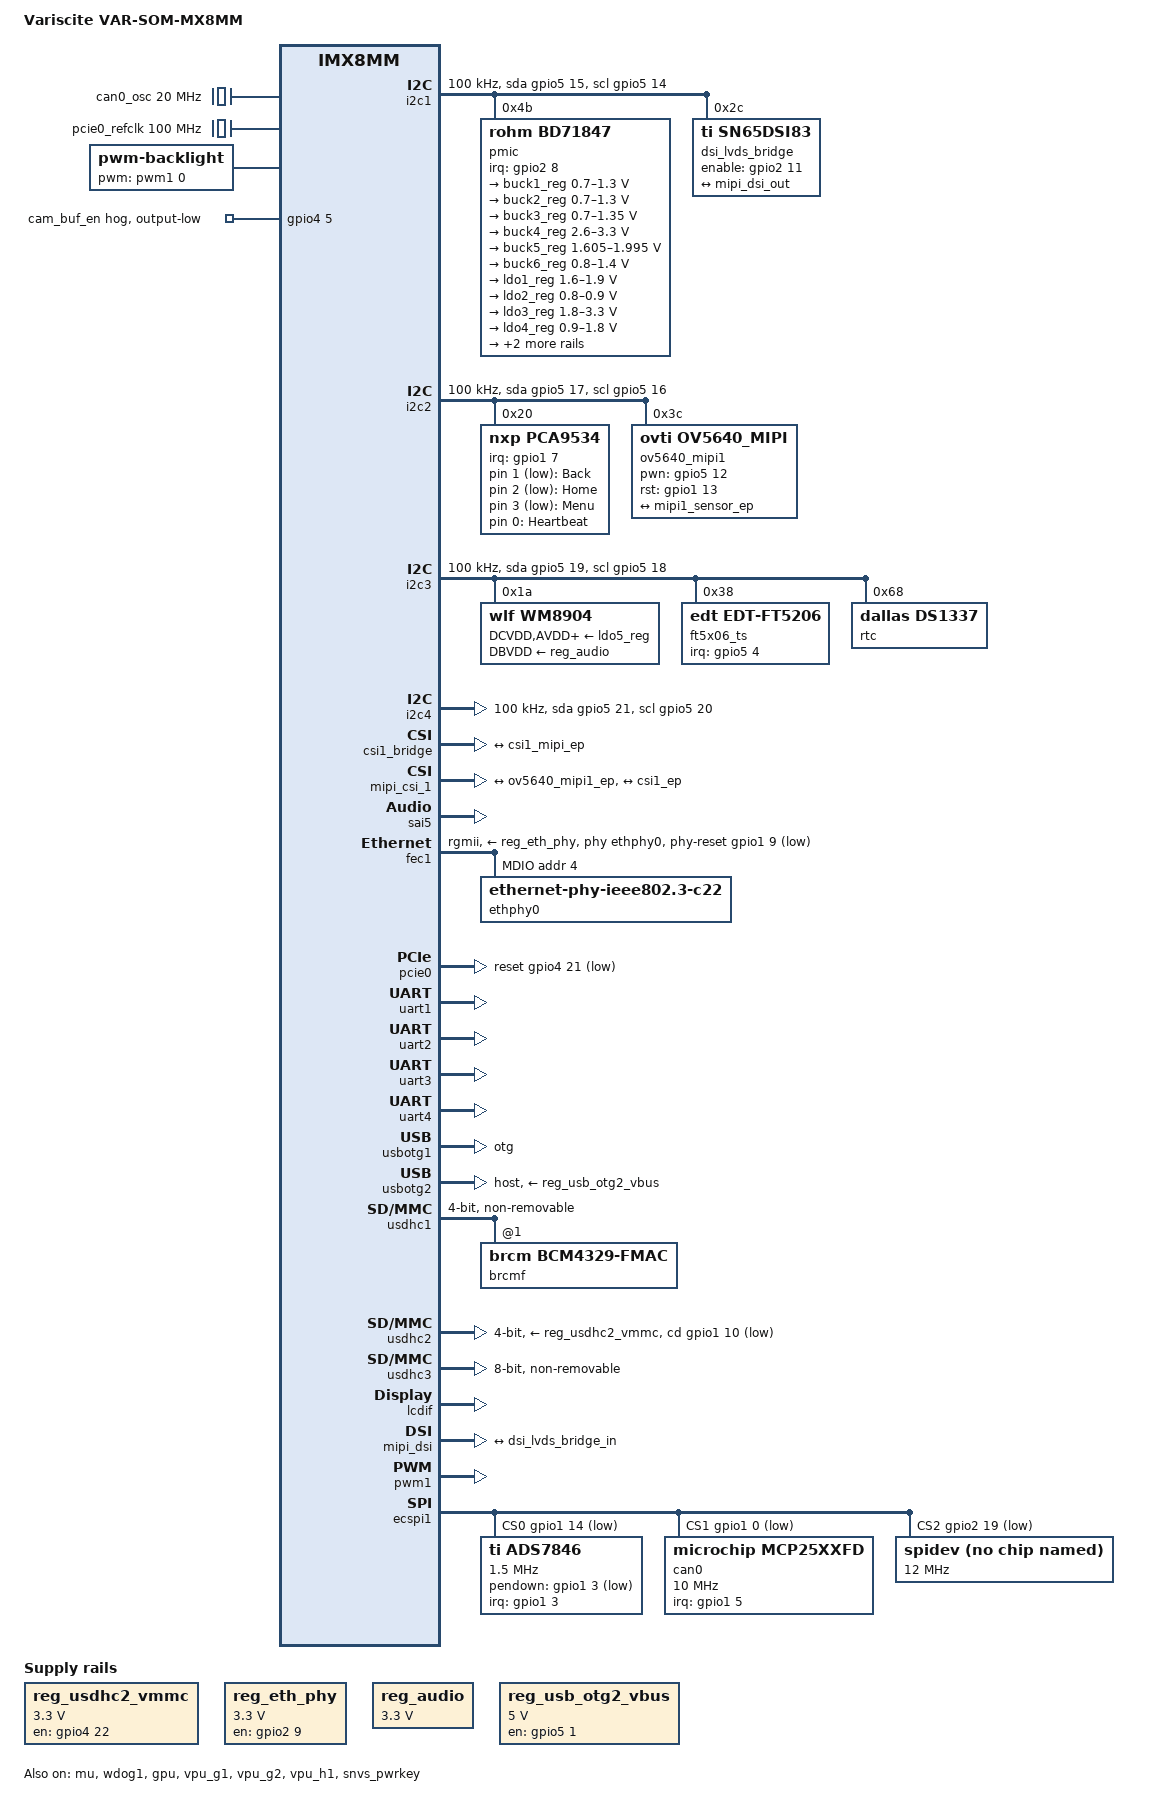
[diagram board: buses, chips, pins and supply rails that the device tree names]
// SPDX-License-Identifier: (GPL-2.0+ OR MIT)
/*
 * Copyright 2019 NXP
 * Copyright 2019-2020 Variscite Ltd.
 */

/dts-v1/;

#include <dt-bindings/usb/pd.h>
#include "imx8mm.dtsi"

/ {
	model = "Variscite VAR-SOM-MX8MM";
	compatible = "variscite,dart-mx8mm", "fsl,imx8mm";

	chosen {
		stdout-path = &uart4;
	};

	reg_usdhc2_vmmc: regulator-usdhc2 {
		compatible = "regulator-fixed";
		pinctrl-names = "default";
		pinctrl-0 = <&pinctrl_reg_usdhc2_vmmc>;
		regulator-name = "VSD_3V3";
		regulator-min-microvolt = <3300000>;
		regulator-max-microvolt = <3300000>;
		gpio = <&gpio4 22 GPIO_ACTIVE_HIGH>;
		off-on-delay = <20000>;
		enable-active-high;
	};

	reg_eth_phy: regulator-eth-phy {
		compatible = "regulator-fixed";
		pinctrl-names = "default";
		pinctrl-0 = <&pinctrl_reg_eth_phy>;
		regulator-name = "eth_phy_pwr";
		regulator-min-microvolt = <3300000>;
		regulator-max-microvolt = <3300000>;
		gpio = <&gpio2 9 GPIO_ACTIVE_HIGH>;
		enable-active-high;
	};

	reg_audio: audio_vdd {
		compatible = "regulator-fixed";
		regulator-name = "wm8904_supply";
		regulator-min-microvolt = <3300000>;
		regulator-max-microvolt = <3300000>;
		regulator-always-on;
	};

	reg_usb_otg2_vbus: regulator-usb-otg2-vbus {
		compatible = "regulator-fixed";
		pinctrl-names = "default", "sleep";
		pinctrl-0 = <&pinctrl_usbotg2>;
		pinctrl-1 = <&pinctrl_usbotg2_sleep>;
		regulator-name = "usb_otg2_vbus";
		regulator-min-microvolt = <5000000>;
		regulator-max-microvolt = <5000000>;
		gpio = <&gpio5 1 GPIO_ACTIVE_HIGH>;
		enable-active-high;
	};

	can0_osc: can0_osc {
		compatible = "fixed-clock";
		#clock-cells = <0>;
		clock-frequency = <20000000>;
		clock-output-names = "can_osc";
	};

	pcie0_refclk: pcie0-refclk {
		compatible = "fixed-clock";
		#clock-cells = <0>;
		clock-frequency = <100000000>;
	};

	reserved-memory {
		/* cma region is provided by kernel command line as cma=<size>M */
		/delete-node/ linux,cma;

		rpmsg_reserved: rpmsg@0x40000000 {
			no-map;
			reg = <0 0x40000000 0 0x400000>;
		};
	};

	sound-spdif {
		compatible = "fsl,imx-audio-spdif";
		model = "imx-spdif";
		spdif-controller = <&spdif1>;
		spdif-out;
		spdif-in;
		status = "disabled";
	};

	sound-wm8904 {
		compatible = "fsl,imx-audio-wm8904";
		model = "imx-wm8904";
		audio-cpu = <&sai5>;
		audio-codec = <&wm8904>;
		audio-routing =
			"Headphone Jack", "HPOUTL",
			"Headphone Jack", "HPOUTR",
			"IN2L", "Line In Jack",
			"IN2R", "Line In Jack",
			"IN1L", "Mic Jack",
			"Playback", "CPU-Playback",
			"CPU-Capture", "Capture";
		status = "okay";
	};

	backlight: backlight {
		compatible = "pwm-backlight";
		pwms = <&pwm1 0 1000000 0>;
		brightness-levels = < 0  1  2  3  4  5  6  7  8  9
				     10 11 12 13 14 15 16 17 18 19
				     20 21 22 23 24 25 26 27 28 29
				     30 31 32 33 34 35 36 37 38 39
				     40 41 42 43 44 45 46 47 48 49
				     50 51 52 53 54 55 56 57 58 59
				     60 61 62 63 64 65 66 67 68 69
				     70 71 72 73 74 75 76 77 78 79
				     80 81 82 83 84 85 86 87 88 89
				     90 91 92 93 94 95 96 97 98 99
				    100>;
		default-brightness-level = <80>;
		status = "okay";
	};

	gpio-keys {
		compatible = "gpio-keys";
		status = "okay";

		back {
			label = "Back";
			gpios = <&pca9534 1 GPIO_ACTIVE_LOW>;
			linux,code = <KEY_BACK>;
			wakeup-source;
		};

		home {
			label = "Home";
			gpios = <&pca9534 2 GPIO_ACTIVE_LOW>;
			linux,code = <KEY_HOME>;
			wakeup-source;
		};

		menu {
			label = "Menu";
			gpios = <&pca9534 3 GPIO_ACTIVE_LOW>;
			linux,code = <KEY_MENU>;
			wakeup-source;
		};
	};

	leds {
		compatible = "gpio-leds";
		status = "okay";

		heartbeat {
			label = "Heartbeat";
			gpios = <&pca9534 0 GPIO_ACTIVE_HIGH>;
			linux,default-trigger = "heartbeat";
		};
	};
};

&iomuxc {
	pinctrl-names = "default";

	imx8mm-var-som {

		pinctrl_reg_usdhc2_vmmc: regusdhc2vmmc {
			fsl,pins = <
				MX8MM_IOMUXC_SAI2_RXC_GPIO4_IO22		0x41
			>;
		};

		pinctrl_reg_eth_phy: regethphy {
			fsl,pins = <
				MX8MM_IOMUXC_SD1_DATA7_GPIO2_IO9		0x41
			>;
		};

		pinctrl_csi1: csi1grp {
			fsl,pins = <
				MX8MM_IOMUXC_GPIO1_IO13_GPIO1_IO13		0x19 /* CAM_RST */
				MX8MM_IOMUXC_ECSPI2_MISO_GPIO5_IO12		0x19 /* CAM_PWR */
				MX8MM_IOMUXC_SAI1_RXD3_GPIO4_IO5		0x19 /* CAM_BUF */
			>;
		};

		pinctrl_fec1: fec1grp {
			fsl,pins = <
				MX8MM_IOMUXC_ENET_MDC_ENET1_MDC			0x3
				MX8MM_IOMUXC_ENET_MDIO_ENET1_MDIO		0x3
				MX8MM_IOMUXC_ENET_TD3_ENET1_RGMII_TD3		0x1f
				MX8MM_IOMUXC_ENET_TD2_ENET1_RGMII_TD2		0x1f
				MX8MM_IOMUXC_ENET_TD1_ENET1_RGMII_TD1		0x1f
				MX8MM_IOMUXC_ENET_TD0_ENET1_RGMII_TD0		0x1f
				MX8MM_IOMUXC_ENET_RD3_ENET1_RGMII_RD3		0x91
				MX8MM_IOMUXC_ENET_RD2_ENET1_RGMII_RD2		0x91
				MX8MM_IOMUXC_ENET_RD1_ENET1_RGMII_RD1		0x91
				MX8MM_IOMUXC_ENET_RD0_ENET1_RGMII_RD0		0x91
				MX8MM_IOMUXC_ENET_TXC_ENET1_RGMII_TXC		0x1f
				MX8MM_IOMUXC_ENET_RXC_ENET1_RGMII_RXC		0x91
				MX8MM_IOMUXC_ENET_RX_CTL_ENET1_RGMII_RX_CTL	0x91
				MX8MM_IOMUXC_ENET_TX_CTL_ENET1_RGMII_TX_CTL	0x1f
				MX8MM_IOMUXC_GPIO1_IO09_GPIO1_IO9		0x19
			>;
		};

		pinctrl_fec1_sleep: fec1grpsleep {
			fsl,pins = <
				MX8MM_IOMUXC_ENET_MDC_GPIO1_IO16		0x120
				MX8MM_IOMUXC_ENET_MDIO_GPIO1_IO17		0x120
				MX8MM_IOMUXC_ENET_TD3_GPIO1_IO18		0x120
				MX8MM_IOMUXC_ENET_TD2_GPIO1_IO19		0x120
				MX8MM_IOMUXC_ENET_TD1_GPIO1_IO20		0x120
				MX8MM_IOMUXC_ENET_TD0_GPIO1_IO21		0x120
				MX8MM_IOMUXC_ENET_RD3_GPIO1_IO29		0x120
				MX8MM_IOMUXC_ENET_RD2_GPIO1_IO28		0x120
				MX8MM_IOMUXC_ENET_RD1_GPIO1_IO27		0x120
				MX8MM_IOMUXC_ENET_RD0_GPIO1_IO26		0x120
				MX8MM_IOMUXC_ENET_TXC_GPIO1_IO23		0x120
				MX8MM_IOMUXC_ENET_RXC_GPIO1_IO25		0x120
				MX8MM_IOMUXC_ENET_RX_CTL_GPIO1_IO24		0x120
				MX8MM_IOMUXC_ENET_TX_CTL_GPIO1_IO22		0x120
				MX8MM_IOMUXC_GPIO1_IO09_GPIO1_IO9		0x120
			>;
		};

		pinctrl_i2c1: i2c1grp {
			fsl,pins = <
				MX8MM_IOMUXC_I2C1_SCL_I2C1_SCL			0x400001c3
				MX8MM_IOMUXC_I2C1_SDA_I2C1_SDA			0x400001c3
			>;
		};

		pinctrl_i2c2: i2c2grp {
			fsl,pins = <
				MX8MM_IOMUXC_I2C2_SCL_I2C2_SCL			0x400001c3
				MX8MM_IOMUXC_I2C2_SDA_I2C2_SDA			0x400001c3
			>;
		};

		pinctrl_i2c3: i2c3grp {
			fsl,pins = <
				MX8MM_IOMUXC_I2C3_SCL_I2C3_SCL			0x400001c3
				MX8MM_IOMUXC_I2C3_SDA_I2C3_SDA			0x400001c3
			>;
		};

		pinctrl_i2c4: i2c4grp {
			fsl,pins = <
				MX8MM_IOMUXC_I2C4_SCL_I2C4_SCL			0x400001c3
				MX8MM_IOMUXC_I2C4_SDA_I2C4_SDA			0x400001c3
			>;
		};

		pinctrl_i2c1_gpio: i2c1grp-gpio {
			fsl,pins = <
				MX8MM_IOMUXC_I2C1_SCL_GPIO5_IO14		0x1c3
				MX8MM_IOMUXC_I2C1_SDA_GPIO5_IO15		0x1c3
			>;
		};

		pinctrl_i2c2_gpio: i2c2grp-gpio {
			fsl,pins = <
				MX8MM_IOMUXC_I2C2_SCL_GPIO5_IO16		0x1c3
				MX8MM_IOMUXC_I2C2_SDA_GPIO5_IO17		0x1c3
			>;
		};

		pinctrl_i2c3_gpio: i2c3grp-gpio {
			fsl,pins = <
				MX8MM_IOMUXC_I2C3_SCL_GPIO5_IO18		0x1c3
				MX8MM_IOMUXC_I2C3_SDA_GPIO5_IO19		0x1c3
			>;
		};

		pinctrl_i2c4_gpio: i2c4grp-gpio {
			fsl,pins = <
				MX8MM_IOMUXC_I2C4_SCL_GPIO5_IO20		0x1c3
				MX8MM_IOMUXC_I2C4_SDA_GPIO5_IO21		0x1c3
			>;
		};

		pinctrl_pcie0: pcie0grp {
			fsl,pins = <
				MX8MM_IOMUXC_SAI2_RXFS_GPIO4_IO21		0x41
			>;
		};

		pinctrl_pmic: pmicgrp {
			fsl,pins = <
				MX8MM_IOMUXC_SD1_DATA6_GPIO2_IO8		0x140
			>;
		};

		pinctrl_sai5: sai5grp {
			fsl,pins = <
				MX8MM_IOMUXC_SAI5_RXD1_SAI5_TX_SYNC		0xd6
				MX8MM_IOMUXC_SAI5_RXFS_SAI5_RX_SYNC		0xd6
				MX8MM_IOMUXC_SAI5_RXD3_SAI5_TX_DATA0		0xd6
				MX8MM_IOMUXC_SAI5_RXD0_SAI5_RX_DATA0		0xd6
				MX8MM_IOMUXC_SAI5_RXC_SAI5_RX_BCLK		0xd6
				MX8MM_IOMUXC_SAI5_RXD2_SAI5_TX_BCLK		0xd6
				MX8MM_IOMUXC_SAI5_MCLK_SAI5_MCLK		0xd6
			>;
		};

		pinctrl_spdif1: spdif1grp {
			fsl,pins = <
				MX8MM_IOMUXC_SPDIF_TX_SPDIF1_OUT		0xd6
				MX8MM_IOMUXC_SPDIF_RX_SPDIF1_IN			0xd6
			>;
		};

		pinctrl_uart1: uart1grp {
			fsl,pins = <
				MX8MM_IOMUXC_UART1_RXD_UART1_DCE_RX		0x140
				MX8MM_IOMUXC_UART1_TXD_UART1_DCE_TX		0x140
			>;
		};

		pinctrl_uart2: uart2grp {
			fsl,pins = <
				MX8MM_IOMUXC_SAI3_TXFS_UART2_DCE_RX		0x140
				MX8MM_IOMUXC_SAI3_TXC_UART2_DCE_TX		0x140
				MX8MM_IOMUXC_SAI3_RXC_UART2_DCE_CTS_B		0x140
				MX8MM_IOMUXC_SAI3_RXD_UART2_DCE_RTS_B		0x140
			>;
		};

		pinctrl_uart3: uart3grp {
			fsl,pins = <
				MX8MM_IOMUXC_UART3_RXD_UART3_DCE_RX		0x140
				MX8MM_IOMUXC_UART3_TXD_UART3_DCE_TX		0x140
			>;
		};

		pinctrl_uart4: uart4grp {
			fsl,pins = <
				MX8MM_IOMUXC_UART4_RXD_UART4_DCE_RX		0x140
				MX8MM_IOMUXC_UART4_TXD_UART4_DCE_TX		0x140
			>;
		};

		pinctrl_usdhc1: usdhc1grp {
			fsl,pins = <
				MX8MM_IOMUXC_SD1_CLK_USDHC1_CLK			0x190
				MX8MM_IOMUXC_SD1_CMD_USDHC1_CMD			0x1d0
				MX8MM_IOMUXC_SD1_DATA0_USDHC1_DATA0		0x1d0
				MX8MM_IOMUXC_SD1_DATA1_USDHC1_DATA1		0x1d0
				MX8MM_IOMUXC_SD1_DATA2_USDHC1_DATA2		0x1d0
				MX8MM_IOMUXC_SD1_DATA3_USDHC1_DATA3		0x1d0
			>;
		};

		pinctrl_usdhc1_100mhz: usdhc1grp100mhz {
			fsl,pins = <
				MX8MM_IOMUXC_SD1_CLK_USDHC1_CLK			0x194
				MX8MM_IOMUXC_SD1_CMD_USDHC1_CMD			0x1d4
				MX8MM_IOMUXC_SD1_DATA0_USDHC1_DATA0		0x1d4
				MX8MM_IOMUXC_SD1_DATA1_USDHC1_DATA1		0x1d4
				MX8MM_IOMUXC_SD1_DATA2_USDHC1_DATA2		0x1d4
				MX8MM_IOMUXC_SD1_DATA3_USDHC1_DATA3		0x1d4
			>;
		};

		pinctrl_usdhc1_200mhz: usdhc1grp200mhz {
			fsl,pins = <
				MX8MM_IOMUXC_SD1_CLK_USDHC1_CLK			0x196
				MX8MM_IOMUXC_SD1_CMD_USDHC1_CMD			0x1d6
				MX8MM_IOMUXC_SD1_DATA0_USDHC1_DATA0		0x1d6
				MX8MM_IOMUXC_SD1_DATA1_USDHC1_DATA1		0x1d6
				MX8MM_IOMUXC_SD1_DATA2_USDHC1_DATA2		0x1d6
				MX8MM_IOMUXC_SD1_DATA3_USDHC1_DATA3		0x1d6
			>;
		};

		pinctrl_usdhc2_gpio: usdhc2grpgpio {
			fsl,pins = <
				MX8MM_IOMUXC_GPIO1_IO10_GPIO1_IO10		0xc1
			>;
		};

		pinctrl_usdhc2: usdhc2grp {
			fsl,pins = <
				MX8MM_IOMUXC_SD2_CLK_USDHC2_CLK			0x190
				MX8MM_IOMUXC_SD2_CMD_USDHC2_CMD			0x1d0
				MX8MM_IOMUXC_SD2_DATA0_USDHC2_DATA0		0x1d0
				MX8MM_IOMUXC_SD2_DATA1_USDHC2_DATA1		0x1d0
				MX8MM_IOMUXC_SD2_DATA2_USDHC2_DATA2		0x1d0
				MX8MM_IOMUXC_SD2_DATA3_USDHC2_DATA3		0x1d0
				MX8MM_IOMUXC_GPIO1_IO04_USDHC2_VSELECT		0x1d0
			>;
		};

		pinctrl_usdhc2_100mhz: usdhc2grp100mhz {
			fsl,pins = <
				MX8MM_IOMUXC_SD2_CLK_USDHC2_CLK			0x194
				MX8MM_IOMUXC_SD2_CMD_USDHC2_CMD			0x1d4
				MX8MM_IOMUXC_SD2_DATA0_USDHC2_DATA0		0x1d4
				MX8MM_IOMUXC_SD2_DATA1_USDHC2_DATA1		0x1d4
				MX8MM_IOMUXC_SD2_DATA2_USDHC2_DATA2		0x1d4
				MX8MM_IOMUXC_SD2_DATA3_USDHC2_DATA3		0x1d4
				MX8MM_IOMUXC_GPIO1_IO04_USDHC2_VSELECT		0x1d0
			>;
		};

		pinctrl_usdhc2_200mhz: usdhc2grp200mhz {
			fsl,pins = <
				MX8MM_IOMUXC_SD2_CLK_USDHC2_CLK			0x196
				MX8MM_IOMUXC_SD2_CMD_USDHC2_CMD			0x1d6
				MX8MM_IOMUXC_SD2_DATA0_USDHC2_DATA0		0x1d6
				MX8MM_IOMUXC_SD2_DATA1_USDHC2_DATA1		0x1d6
				MX8MM_IOMUXC_SD2_DATA2_USDHC2_DATA2		0x1d6
				MX8MM_IOMUXC_SD2_DATA3_USDHC2_DATA3		0x1d6
				MX8MM_IOMUXC_GPIO1_IO04_USDHC2_VSELECT		0x1d0
			>;
		};

		pinctrl_usdhc3: usdhc3grp {
			fsl,pins = <
				MX8MM_IOMUXC_NAND_WE_B_USDHC3_CLK		0x190
				MX8MM_IOMUXC_NAND_WP_B_USDHC3_CMD		0x1d0
				MX8MM_IOMUXC_NAND_DATA04_USDHC3_DATA0		0x1d0
				MX8MM_IOMUXC_NAND_DATA05_USDHC3_DATA1		0x1d0
				MX8MM_IOMUXC_NAND_DATA06_USDHC3_DATA2		0x1d0
				MX8MM_IOMUXC_NAND_DATA07_USDHC3_DATA3		0x1d0
				MX8MM_IOMUXC_NAND_RE_B_USDHC3_DATA4		0x1d0
				MX8MM_IOMUXC_NAND_CE2_B_USDHC3_DATA5		0x1d0
				MX8MM_IOMUXC_NAND_CE3_B_USDHC3_DATA6		0x1d0
				MX8MM_IOMUXC_NAND_CLE_USDHC3_DATA7		0x1d0
				MX8MM_IOMUXC_NAND_CE1_B_USDHC3_STROBE 		0x190
			>;
		};

		pinctrl_usdhc3_100mhz: usdhc3grp100mhz {
			fsl,pins = <
				MX8MM_IOMUXC_NAND_WE_B_USDHC3_CLK		0x194
				MX8MM_IOMUXC_NAND_WP_B_USDHC3_CMD		0x1d4
				MX8MM_IOMUXC_NAND_DATA04_USDHC3_DATA0		0x1d4
				MX8MM_IOMUXC_NAND_DATA05_USDHC3_DATA1		0x1d4
				MX8MM_IOMUXC_NAND_DATA06_USDHC3_DATA2		0x1d4
				MX8MM_IOMUXC_NAND_DATA07_USDHC3_DATA3		0x1d4
				MX8MM_IOMUXC_NAND_RE_B_USDHC3_DATA4		0x1d4
				MX8MM_IOMUXC_NAND_CE2_B_USDHC3_DATA5		0x1d4
				MX8MM_IOMUXC_NAND_CE3_B_USDHC3_DATA6		0x1d4
				MX8MM_IOMUXC_NAND_CLE_USDHC3_DATA7		0x1d4
				MX8MM_IOMUXC_NAND_CE1_B_USDHC3_STROBE 		0x194
			>;
		};

		pinctrl_usdhc3_200mhz: usdhc3grp200mhz {
			fsl,pins = <
				MX8MM_IOMUXC_NAND_WE_B_USDHC3_CLK		0x196
				MX8MM_IOMUXC_NAND_WP_B_USDHC3_CMD		0x1d6
				MX8MM_IOMUXC_NAND_DATA04_USDHC3_DATA0		0x1d6
				MX8MM_IOMUXC_NAND_DATA05_USDHC3_DATA1		0x1d6
				MX8MM_IOMUXC_NAND_DATA06_USDHC3_DATA2		0x1d6
				MX8MM_IOMUXC_NAND_DATA07_USDHC3_DATA3		0x1d6
				MX8MM_IOMUXC_NAND_RE_B_USDHC3_DATA4		0x1d6
				MX8MM_IOMUXC_NAND_CE2_B_USDHC3_DATA5		0x1d6
				MX8MM_IOMUXC_NAND_CE3_B_USDHC3_DATA6		0x1d6
				MX8MM_IOMUXC_NAND_CLE_USDHC3_DATA7		0x1d6
				MX8MM_IOMUXC_NAND_CE1_B_USDHC3_STROBE 		0x196
			>;
		};

		pinctrl_wdog: wdoggrp {
			fsl,pins = <
				MX8MM_IOMUXC_GPIO1_IO02_WDOG1_WDOG_B		0xc6
			>;
		};

		pinctrl_wifi: wifigrp {
			fsl,pins = <
				MX8MM_IOMUXC_SD1_DATA5_GPIO2_IO7		0xc1	/* WIFI_3V3_PWR_EN */
				MX8MM_IOMUXC_SD2_WP_GPIO2_IO20			0x140	/* WIFI_1V8_PWR_EN */
				MX8MM_IOMUXC_SD1_RESET_B_GPIO2_IO10		0xc1	/* WIFI_REG_ON     */
				MX8MM_IOMUXC_SD1_DATA4_GPIO2_IO6		0xc1	/* BT_REG_ON       */
			>;
		};

		pinctrl_lvds: lvdsgrp {
			fsl,pins = <
				MX8MM_IOMUXC_SD1_STROBE_GPIO2_IO11		0x16
			>;
		};

		pinctrl_pwm1: pwm1grp {
			fsl,pins = <
				MX8MM_IOMUXC_SPDIF_EXT_CLK_PWM1_OUT		0x06
			>;
		};

		pinctrl_captouch: captouchgrp {
			fsl,pins = <
				MX8MM_IOMUXC_SPDIF_RX_GPIO5_IO4			0x16
			>;
		};

		pinctrl_ecspi1: ecspi1grp {
			fsl,pins = <
				MX8MM_IOMUXC_ECSPI1_SCLK_ECSPI1_SCLK		0x13
				MX8MM_IOMUXC_ECSPI1_MOSI_ECSPI1_MOSI		0x13
				MX8MM_IOMUXC_ECSPI1_MISO_ECSPI1_MISO		0x13
				MX8MM_IOMUXC_GPIO1_IO14_GPIO1_IO14		0x13
				MX8MM_IOMUXC_GPIO1_IO00_GPIO1_IO0		0x13
				MX8MM_IOMUXC_SD2_RESET_B_GPIO2_IO19		0x13
			>;
		};

		pinctrl_can: cangrp {
			fsl,pins = <
				MX8MM_IOMUXC_GPIO1_IO05_GPIO1_IO5		0x16
			>;
		};

		pinctrl_restouch: restouchgrp {
			fsl,pins = <
				MX8MM_IOMUXC_GPIO1_IO03_GPIO1_IO3		0x1c0
			>;
		};

		pinctrl_usbotg2: usbotg2grp {
			fsl,pins = <
				MX8MM_IOMUXC_SAI3_TXD_GPIO5_IO1			0x16
			>;
		};

		pinctrl_usbotg2_sleep: usbotg2grpsleep {
			fsl,pins = <
				MX8MM_IOMUXC_SAI3_TXD_GPIO5_IO1			0x120
			>;
		};

		pinctrl_pca9534: pca9534grp {
			fsl,pins = <
				MX8MM_IOMUXC_GPIO1_IO07_GPIO1_IO7		0x16
			>;
		};
	};
};

&i2c1 {
	clock-frequency = <100000>;
	pinctrl-names = "default", "gpio";
	pinctrl-0 = <&pinctrl_i2c1>;
	pinctrl-1 = <&pinctrl_i2c1_gpio>;
	scl-gpios = <&gpio5 14 GPIO_ACTIVE_HIGH>;
	sda-gpios = <&gpio5 15 GPIO_ACTIVE_HIGH>;
	status = "okay";

	pmic@4b {
		status = "okay";
		compatible = "rohm,bd71847";
		reg = <0x4b>;
		pinctrl-names = "default";
		pinctrl-0 = <&pinctrl_pmic>;
		interrupt-parent = <&gpio2>;
		interrupts = <8 IRQ_TYPE_LEVEL_LOW>;
		rohm,reset-snvs-powered;

		regulators {
			buck1_reg: BUCK1 {
				regulator-name = "BUCK1";
				regulator-min-microvolt = <700000>;
				regulator-max-microvolt = <1300000>;
				regulator-boot-on;
				regulator-always-on;
				regulator-ramp-delay = <1250>;
			};

			buck2_reg: BUCK2 {
				regulator-name = "BUCK2";
				regulator-min-microvolt = <700000>;
				regulator-max-microvolt = <1300000>;
				regulator-boot-on;
				regulator-always-on;
				regulator-ramp-delay = <1250>;
				rohm,dvs-run-voltage = <1000000>;
				rohm,dvs-idle-voltage = <900000>;
			};

			buck3_reg: BUCK3 {
				// BUCK5 in datasheet
				regulator-name = "BUCK3";
				regulator-min-microvolt = <700000>;
				regulator-max-microvolt = <1350000>;
				regulator-boot-on;
				regulator-always-on;
			};

			buck4_reg: BUCK4 {
				// BUCK6 in datasheet
				regulator-name = "BUCK4";
				regulator-min-microvolt = <2600000>;
				regulator-max-microvolt = <3300000>;
				regulator-boot-on;
				regulator-always-on;
			};

			buck5_reg: BUCK5 {
				// BUCK7 in datasheet
				regulator-name = "BUCK5";
				regulator-min-microvolt = <1605000>;
				regulator-max-microvolt = <1995000>;
				regulator-boot-on;
				regulator-always-on;
			};

			buck6_reg: BUCK6 {
				// BUCK8 in datasheet
				regulator-name = "BUCK6";
				regulator-min-microvolt = <800000>;
				regulator-max-microvolt = <1400000>;
				regulator-boot-on;
				regulator-always-on;
			};

			ldo1_reg: LDO1 {
				regulator-name = "LDO1";
				regulator-min-microvolt = <1600000>;
				regulator-max-microvolt = <1900000>;
				regulator-boot-on;
				regulator-always-on;
			};

			ldo2_reg: LDO2 {
				regulator-name = "LDO2";
				regulator-min-microvolt = <800000>;
				regulator-max-microvolt = <900000>;
				regulator-boot-on;
				regulator-always-on;
			};

			ldo3_reg: LDO3 {
				regulator-name = "LDO3";
				regulator-min-microvolt = <1800000>;
				regulator-max-microvolt = <3300000>;
				regulator-boot-on;
				regulator-always-on;
			};

			ldo4_reg: LDO4 {
				regulator-name = "LDO4";
				regulator-min-microvolt = <900000>;
				regulator-max-microvolt = <1800000>;
				regulator-always-on;
			};

			ldo5_reg: LDO5 {
				regulator-name = "LDO5";
				regulator-min-microvolt = <1800000>;
				regulator-max-microvolt = <1800000>;
				regulator-always-on;
			};

			ldo6_reg: LDO6 {
				regulator-name = "LDO6";
				regulator-min-microvolt = <900000>;
				regulator-max-microvolt = <1800000>;
				regulator-boot-on;
				regulator-always-on;
			};
		};
	};

	dsi_lvds_bridge: sn65dsi84@2c {
		compatible = "ti,sn65dsi83";
		reg = <0x2c>;
		ti,dsi-lanes = <4>;
		ti,lvds-format = <1>;
		ti,lvds-bpp = <24>;
		ti,lvds-channels = <1>;
		ti,width-mm = <154>;
		ti,height-mm = <87>;
		enable-gpios = <&gpio2 11 GPIO_ACTIVE_HIGH>;
		pinctrl-names = "default";
		pinctrl-0 = <&pinctrl_lvds>;
		status = "okay";

		display-timings {
			lvds {
				clock-frequency = <33000000>;
				hactive = <800>;
				vactive = <480>;
				hback-porch = <40>;
				hfront-porch = <40>;
				vback-porch = <29>;
				vfront-porch = <13>;
				hsync-len = <48>;
				vsync-len = <3>;
				hsync-active = <0>;
				vsync-active = <0>;
				de-active = <1>;
				pixelclk-active = <0>;
			};
		};

		port {
			dsi_lvds_bridge_in: endpoint {
				remote-endpoint = <&mipi_dsi_out>;
			};
		};
	};
};

&i2c2 {
	clock-frequency = <100000>;
	pinctrl-names = "default", "gpio";
	pinctrl-0 = <&pinctrl_i2c2>;
	pinctrl-1 = <&pinctrl_i2c2_gpio>;
	scl-gpios = <&gpio5 16 GPIO_ACTIVE_HIGH>;
	sda-gpios = <&gpio5 17 GPIO_ACTIVE_HIGH>;
	status = "okay";

	/* GPIO expander */
	pca9534: gpio@20 {
		compatible = "nxp,pca9534";
		reg = <0x20>;
		gpio-controller;
		pinctrl-names = "default";
		pinctrl-0 = <&pinctrl_pca9534>;
		interrupt-parent = <&gpio1>;
		interrupts = <7 IRQ_TYPE_EDGE_FALLING>;
		#gpio-cells = <2>;
		wakeup-source;
	};

	ov5640_mipi1: ov5640_mipi1@3c {
		status = "okay";
		compatible = "ovti,ov5640_mipi";
		reg = <0x3c>;
		pinctrl-names = "default";
		pinctrl-0 = <&pinctrl_csi1>;
		clocks = <&clk IMX8MM_CLK_CLKO1>;
		clock-names = "csi_mclk";
/* Disabled CLKO2, since DART-MX8MM camera expansion board uses
 * its own oscillator. Enable CLK02 if your desing requres it
 */
#if 0
		assigned-clocks = <&clk IMX8MM_CLK_CLKO1>;
		assigned-clock-parents = <&clk IMX8MM_CLK_24M>;
		assigned-clock-rates = <24000000>;
#endif
		csi_id = <0>;
		pwn-gpios = <&gpio5 12 GPIO_ACTIVE_HIGH>;
		rst-gpios = <&gpio1 13 GPIO_ACTIVE_HIGH>;
		mclk = <24000000>;
		mclk_source = <0>;
		port {
			ov5640_mipi1_ep: endpoint {
				remote-endpoint = <&mipi1_sensor_ep>;
			};
		};
	};
};

&i2c3 {
	clock-frequency = <100000>;
	pinctrl-names = "default", "gpio";
	pinctrl-0 = <&pinctrl_i2c3>;
	pinctrl-1 = <&pinctrl_i2c3_gpio>;
	scl-gpios = <&gpio5 18 GPIO_ACTIVE_HIGH>;
	sda-gpios = <&gpio5 19 GPIO_ACTIVE_HIGH>;
	status = "okay";

	wm8904: audio-codec@1a {
		compatible = "wlf,wm8904";
		reg = <0x1a>;
		clocks = <&clk IMX8MM_CLK_SAI5_ROOT>;
		clock-names = "mclk";
		DCVDD-supply = <&ldo5_reg>;
		DBVDD-supply = <&reg_audio>;
		AVDD-supply = <&ldo5_reg>;
		CPVDD-supply = <&ldo5_reg>;
		MICVDD-supply = <&ldo5_reg>;
		status = "okay";
		gpio-cfg = <
			0x0018 /* GPIO1 => DMIC_CLK */
			0xffff /* GPIO2 => don't touch */
			0xffff /* GPIO3 => don't touch */
			0xffff /* GPIO4 => don't touch */
		>;
	};

	/* Capacitive touch controller */
	ft5x06_ts: ft5x06_ts@38 {
		status = "okay";
		compatible = "edt,edt-ft5206";
		reg = <0x38>;
		pinctrl-names = "default";
		pinctrl-0 = <&pinctrl_captouch>;
		interrupt-parent = <&gpio5>;
		interrupts = <4 0>;
		touchscreen-size-x = <800>;
		touchscreen-size-y = <480>;
		touchscreen-inverted-x;
		touchscreen-inverted-y;
		wakeup-source;
	};

	/* DS1337 RTC module */
	rtc@68 {
		status = "okay";
		compatible = "dallas,ds1337";
		reg = <0x68>;
	};
};

&i2c4 {
	clock-frequency = <100000>;
	pinctrl-names = "default", "gpio";
	pinctrl-0 = <&pinctrl_i2c4>;
	pinctrl-1 = <&pinctrl_i2c4_gpio>;
	scl-gpios = <&gpio5 20 GPIO_ACTIVE_HIGH>;
	sda-gpios = <&gpio5 21 GPIO_ACTIVE_HIGH>;
	status = "okay";
};

&csi1_bridge {
	fsl,mipi-mode;
	status = "okay";
	port {
		csi1_ep: endpoint {
			remote-endpoint = <&csi1_mipi_ep>;
		};
	};
};

&mipi_csi_1 {
	#address-cells = <1>;
	#size-cells = <0>;
	status = "okay";
	port {
		mipi1_sensor_ep: endpoint@1 {
			remote-endpoint = <&ov5640_mipi1_ep>;
			data-lanes = <2>;
			csis-hs-settle = <13>;
			csis-clk-settle = <2>;
			csis-wclk;
		};

		csi1_mipi_ep: endpoint@2 {
			remote-endpoint = <&csi1_ep>;
		};
	};
};

&mu {
	status = "okay";
};

&sai5 {
	pinctrl-names = "default";
	pinctrl-0 = <&pinctrl_sai5>;
	assigned-clocks = <&clk IMX8MM_CLK_SAI5>;
	assigned-clock-parents = <&clk IMX8MM_AUDIO_PLL1_OUT>;
	assigned-clock-rates = <1536000>;
	status = "okay";
};

&spdif1 {
	pinctrl-names = "default";
	pinctrl-0 = <&pinctrl_spdif1>;
	assigned-clocks = <&clk IMX8MM_CLK_SPDIF1>;
	assigned-clock-parents = <&clk IMX8MM_AUDIO_PLL1_OUT>;
	assigned-clock-rates = <24576000>;
	clocks = <&clk IMX8MM_CLK_AUDIO_AHB>, <&clk IMX8MM_CLK_24M>,
		<&clk IMX8MM_CLK_SPDIF1>, <&clk IMX8MM_CLK_DUMMY>,
		<&clk IMX8MM_CLK_DUMMY>, <&clk IMX8MM_CLK_DUMMY>,
		<&clk IMX8MM_CLK_AUDIO_AHB>, <&clk IMX8MM_CLK_DUMMY>,
		<&clk IMX8MM_CLK_DUMMY>, <&clk IMX8MM_CLK_DUMMY>,
		<&clk IMX8MM_AUDIO_PLL1_OUT>, <&clk IMX8MM_AUDIO_PLL2_OUT>;
	clock-names = "core", "rxtx0", "rxtx1", "rxtx2", "rxtx3",
		"rxtx4", "rxtx5", "rxtx6", "rxtx7", "spba", "pll8k", "pll11k";
	status = "disabled";
};

&fec1 {
	pinctrl-names = "default", "sleep";
	pinctrl-0 = <&pinctrl_fec1>;
	pinctrl-1 = <&pinctrl_fec1_sleep>;
	phy-mode = "rgmii";
	phy-handle = <&ethphy0>;
	phy-supply = <&reg_eth_phy>;
	phy-reset-gpios = <&gpio1 9 GPIO_ACTIVE_LOW>;
	phy-reset-duration = <10>;
	phy-reset-on-resume;
	status = "okay";

	mdio {
		#address-cells = <1>;
		#size-cells = <0>;

		ethphy0: ethernet-phy@4 {
			compatible = "ethernet-phy-ieee802.3-c22";
			reg = <4>;
			at803x,led-act-blind-workaround;
			at803x,eee-disabled;
			at803x,vddio-1p8v;
		};
	};
};

&pcie0{
	pinctrl-names = "default";
	pinctrl-0 = <&pinctrl_pcie0>;
	reset-gpio = <&gpio4 21 GPIO_ACTIVE_LOW>;
	clocks = <&clk IMX8MM_CLK_PCIE1_ROOT>,
		 <&clk IMX8MM_CLK_PCIE1_AUX>,
		 <&clk IMX8MM_CLK_PCIE1_PHY>,
		 <&pcie0_refclk>;
	clock-names = "pcie", "pcie_aux", "pcie_phy", "pcie_bus";
	ext_osc = <1>;
	status = "okay";
};

/* Header */
&uart1 {
	pinctrl-names = "default";
	pinctrl-0 = <&pinctrl_uart1>;
	status = "okay";
};

/* Bluetooth */
&uart2 {
	pinctrl-names = "default";
	pinctrl-0 = <&pinctrl_uart2>;
	assigned-clocks = <&clk IMX8MM_CLK_UART2>;
	assigned-clock-parents = <&clk IMX8MM_SYS_PLL1_80M>;
	uart-has-rtscts;
	status = "okay";
};

/* Header */
&uart3 {
	pinctrl-names = "default";
	pinctrl-0 = <&pinctrl_uart3>;
	status = "okay";
};

/* Console */
&uart4 {
	pinctrl-names = "default";
	pinctrl-0 = <&pinctrl_uart4>;
	status = "okay";
};

&usbotg1 {
	dr_mode = "otg";
	picophy,pre-emp-curr-control = <3>;
	picophy,dc-vol-level-adjust = <7>;
	status = "okay";
};

&usbotg2 {
	dr_mode = "host";
	vbus-supply = <&reg_usb_otg2_vbus>;
	picophy,pre-emp-curr-control = <3>;
	picophy,dc-vol-level-adjust = <7>;
	srp-disable;
	hnp-disable;
	adp-disable;
	disable-over-current;
	status = "okay";
};

/* WIFI */
&usdhc1 {
	#address-cells = <1>;
	#size-cells = <0>;
	pinctrl-names = "default", "state_100mhz", "state_200mhz";
	pinctrl-0 = <&pinctrl_usdhc1>;
	pinctrl-1 = <&pinctrl_usdhc1_100mhz>;
	pinctrl-2 = <&pinctrl_usdhc1_200mhz>;
	bus-width = <4>;
	non-removable;
	keep-power-in-suspend;
	status = "okay";

	brcmf: bcrmf@1 {
		reg = <1>;
		compatible = "brcm,bcm4329-fmac";
	};
};

/* SD */
&usdhc2 {
	pinctrl-names = "default", "state_100mhz", "state_200mhz";
	pinctrl-0 = <&pinctrl_usdhc2>, <&pinctrl_usdhc2_gpio>;
	pinctrl-1 = <&pinctrl_usdhc2_100mhz>, <&pinctrl_usdhc2_gpio>;
	pinctrl-2 = <&pinctrl_usdhc2_200mhz>, <&pinctrl_usdhc2_gpio>;
	cd-gpios = <&gpio1 10 GPIO_ACTIVE_LOW>;
	bus-width = <4>;
	vmmc-supply = <&reg_usdhc2_vmmc>;
	status = "okay";
};

/* EMMC */
&usdhc3 {
	pinctrl-names = "default", "state_100mhz", "state_200mhz";
	pinctrl-0 = <&pinctrl_usdhc3>;
	pinctrl-1 = <&pinctrl_usdhc3_100mhz>;
	pinctrl-2 = <&pinctrl_usdhc3_200mhz>;
	bus-width = <8>;
	non-removable;
	status = "okay";
};

&wdog1 {
	pinctrl-names = "default";
	pinctrl-0 = <&pinctrl_wdog>;
	fsl,ext-reset-output;
	status = "okay";
};

&A53_0 {
	arm-supply = <&buck2_reg>;
};

&gpu {
	status = "okay";
};

&vpu_g1 {
	status = "okay";
};

&vpu_g2 {
	status = "okay";
};

&vpu_h1 {
	status = "okay";
};

&lcdif {
	status = "okay";
};

&mipi_dsi {
	status = "okay";

	port@1 {
		mipi_dsi_out: endpoint {
			remote-endpoint = <&dsi_lvds_bridge_in>;
			attach-bridge;
		};
	};
};

&pwm1 {
	status = "okay";
	pinctrl-names = "default";
	pinctrl-0 = <&pinctrl_pwm1>;
};

&ecspi1 {
	pinctrl-names = "default";
	pinctrl-0 = <&pinctrl_ecspi1>;
	cs-gpios = <&gpio1 14 GPIO_ACTIVE_LOW>,
		   <&gpio1  0 GPIO_ACTIVE_LOW>,
		   <&gpio2 19 GPIO_ACTIVE_LOW>;
	/delete-property/ dmas;
	/delete-property/ dma-names;
	status = "okay";

	/* Resistive touch controller */
	ads7846@0 {
		reg = <0>;
		compatible = "ti,ads7846";
		pinctrl-names = "default";
		pinctrl-0 = <&pinctrl_restouch>;
		interrupt-parent = <&gpio1>;
		interrupts = <3 GPIO_ACTIVE_LOW>;
		spi-max-frequency = <1500000>;
		pendown-gpio = <&gpio1 3 GPIO_ACTIVE_LOW>;
		ti,x-min = /bits/ 16 <125>;
		ti,x-max = /bits/ 16 <4008>;
		ti,y-min = /bits/ 16 <282>;
		ti,y-max = /bits/ 16 <3864>;
		ti,x-plate-ohms = /bits/ 16 <180>;
		ti,pressure-max = /bits/ 16 <255>;
		ti,debounce-max = /bits/ 16 <10>;
		ti,debounce-tol = /bits/ 16 <3>;
		ti,debounce-rep = /bits/ 16 <1>;
		ti,settle-delay-usec = /bits/ 16 <150>;
		ti,keep-vref-on;
		wakeup-source;
		status = "okay";
	};

	/* CAN controller */
	can0: can@1 {
		compatible = "microchip,mcp25xxfd";
		reg = <1>;
		pinctrl-names = "default";
		pinctrl-0 = <&pinctrl_can>;
		clocks = <&can0_osc>;
		interrupt-parent = <&gpio1>;
		interrupts = <5 IRQ_TYPE_LEVEL_LOW>;
		spi-max-frequency = <10000000>;
		status = "okay";
	};

	/* Test SPI device */
	spidev@2 {
		reg = <2>;
		compatible = "var,spidev";
		spi-max-frequency = <12000000>;
		status = "okay";
	};
};

&snvs_pwrkey {
	status = "okay";
	/delete-property/ clocks;
	/delete-property/ clock-names;
};

&snvs_rtc {
	status = "disabled";
};

&gpio4 {
	cam_buf_hog {
		gpio-hog;
		gpios = <5 0>;
		output-low;
		line-name = "cam_buf_en";
	};
};

&pca9534 {
	usb3_sel_hog {
		gpio-hog;
		gpios = <4 0>;
		output-high;
		line-name = "usb3_sel";
	};

	enet_rst_hog {
		gpio-hog;
		gpios = <5 0>;
		output-low;
		line-name = "enet_rst";
	};

	som_vsel_hog {
		gpio-hog;
		gpios = <6 0>;
		output-low;
		line-name = "som_vsel";
	};

	enet_sel_hog {
		gpio-hog;
		gpios = <7 0>;
		output-low;
		line-name = "enet_sel";
	};
};
